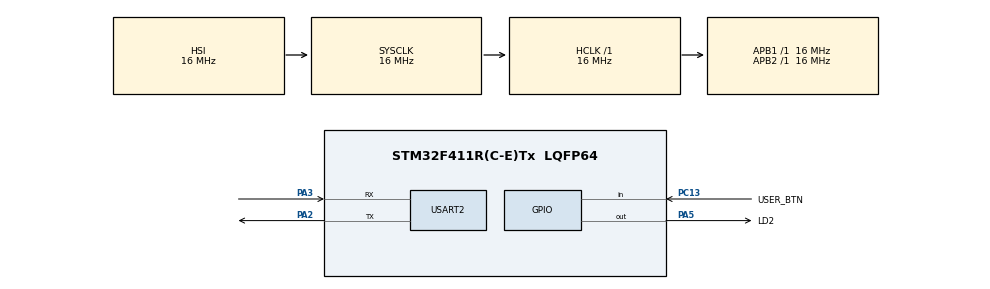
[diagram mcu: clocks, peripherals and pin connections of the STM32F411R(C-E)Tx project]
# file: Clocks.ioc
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Mcu.Family=STM32F4
Mcu.Name=STM32F411R(C-E)Tx
Mcu.Package=LQFP64
NVIC.PriorityGroup=NVIC_PRIORITYGROUP_4
PA13.Mode=Serial_Wire
PA13.Signal=SYS_JTMS-SWDIO
PA14.Mode=Serial_Wire
PA14.Signal=SYS_JTCK-SWCLK
PA2.Mode=Asynchronous
PA2.Signal=USART2_TX
PA3.Mode=Asynchronous
PA3.Signal=USART2_RX
PA5.GPIO_Label=LD2
PA5.Signal=GPIO_Output
PC13-ANTI_TAMP.GPIO_Label=USER_BTN
PC13-ANTI_TAMP.Signal=GPIO_Input
PC14-OSC32_IN.Mode=LSE-External-Oscillator
PC14-OSC32_IN.Signal=RCC_OSC32_IN
PC15-OSC32_OUT.Mode=LSE-External-Oscillator
PC15-OSC32_OUT.Signal=RCC_OSC32_OUT
ProjectManager.HeapSize=0x200
ProjectManager.StackSize=0x400
ProjectManager.TargetToolchain=STM32CubeIDE
RCC.AHBFreq_Value=16000000
RCC.APB1Freq_Value=16000000
RCC.APB2Freq_Value=16000000
RCC.CortexFreq_Value=16000000
RCC.HSE_VALUE=25000000
RCC.HSI_VALUE=16000000
RCC.RCC_RTC_Clock_Source=RCC_RTCCLKSOURCE_LSE
RCC.SYSCLKFreq_VALUE=16000000
RCC.VCOOutputFreq_Value=192000000
USART2.VirtualMode=VM_ASYNC
VP_RTC_VS_RTC_Activate.Mode=RTC_Enabled
board=custom

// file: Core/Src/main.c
/* USER CODE BEGIN Header */
/**
  ******************************************************************************
  * @file           : main.c
  * @brief          : Main program body
  ******************************************************************************
  * @attention
  *
  * Copyright (c) 2024 STMicroelectronics.
  * All rights reserved.
  *
  * This software is licensed under terms that can be found in the LICENSE file
  * in the root directory of this software component.
  * If no LICENSE file comes with this software, it is provided AS-IS.
  *
  ******************************************************************************
  */
/* USER CODE END Header */
#include "main.h"

/* USER CODE BEGIN Includes */
#include <stdio.h>
#include <string.h>
#include <stdbool.h>
/* USER CODE END Includes */

RTC_HandleTypeDef hrtc;

UART_HandleTypeDef huart2;

void SystemClock_Config(void);
static void MX_GPIO_Init(void);
static void MX_RTC_Init(void);
static void MX_USART2_UART_Init(void);

/* USER CODE BEGIN 0 */

int __io_putchar(int ch)
{
    if (ch == '\n') {
        uint8_t ch2 = '\r';
        HAL_UART_Transmit(&huart2, &ch2, 1, HAL_MAX_DELAY);
    }

    HAL_UART_Transmit(&huart2, (uint8_t*)&ch, 1, HAL_MAX_DELAY);
    return 1;
}

bool is_button_pressed(void)
{
  if (HAL_GPIO_ReadPin(USER_BTN_GPIO_Port, USER_BTN_Pin) == GPIO_PIN_RESET) {
    return true;
  } else {
    return false;
  }
}
/* USER CODE END 0 */

int main(void)
{

  /* MCU Configuration--------------------------------------------------------*/

  /* Reset of all peripherals, Initializes the Flash interface and the Systick. */
  HAL_Init();

  /* Configure the system clock */
  SystemClock_Config();

  /* Initialize all configured peripherals */
  MX_GPIO_Init();
  MX_RTC_Init();
  MX_USART2_UART_Init();

  /* Infinite loop */
  /* USER CODE BEGIN WHILE */
  while (1)
  {
	  RTC_TimeTypeDef time;
	  RTC_DateTypeDef date;

	  if (is_button_pressed()) {
		// WAŻNE : nieużywane pola muszą być wyzerowane
		  RTC_TimeTypeDef new_time = {0};

		  //Czekamy na zwolnienie przycisku
		  while(is_button_pressed()){}

		  new_time.Hours = 7;
		  new_time.Minutes = 45;
		  new_time.Seconds = 0;
		  HAL_RTC_SetTime(&hrtc, &new_time, RTC_FORMAT_BIN);
	  }

	  HAL_RTC_GetTime(&hrtc, &time, RTC_FORMAT_BIN);
	  HAL_RTC_GetDate(&hrtc, &date, RTC_FORMAT_BIN);

	  printf("Aktualna data i czas: %04d-%02d-%02d | %02d:%02d:%02d\n", 2000 + date.Year, date.Month, date.Date, time.Hours, time.Minutes, time.Seconds);
	  HAL_Delay(200);
    /* USER CODE END WHILE */

  }
}

void SystemClock_Config(void)
{
  RCC_OscInitTypeDef RCC_OscInitStruct = {0};
  RCC_ClkInitTypeDef RCC_ClkInitStruct = {0};

  /** Configure the main internal regulator output voltage
  */
  __HAL_RCC_PWR_CLK_ENABLE();
  __HAL_PWR_VOLTAGESCALING_CONFIG(PWR_REGULATOR_VOLTAGE_SCALE1);

  /** Initializes the RCC Oscillators according to the specified parameters
  * in the RCC_OscInitTypeDef structure.
  */
  RCC_OscInitStruct.OscillatorType = RCC_OSCILLATORTYPE_HSI|RCC_OSCILLATORTYPE_LSE;
  RCC_OscInitStruct.LSEState = RCC_LSE_ON;
  RCC_OscInitStruct.HSIState = RCC_HSI_ON;
  RCC_OscInitStruct.HSICalibrationValue = RCC_HSICALIBRATION_DEFAULT;
  RCC_OscInitStruct.PLL.PLLState = RCC_PLL_NONE;
  if (HAL_RCC_OscConfig(&RCC_OscInitStruct) != HAL_OK)
  {
    Error_Handler();
  }

  /** Initializes the CPU, AHB and APB buses clocks
  */
  RCC_ClkInitStruct.ClockType = RCC_CLOCKTYPE_HCLK|RCC_CLOCKTYPE_SYSCLK
                              |RCC_CLOCKTYPE_PCLK1|RCC_CLOCKTYPE_PCLK2;
  RCC_ClkInitStruct.SYSCLKSource = RCC_SYSCLKSOURCE_HSI;
  RCC_ClkInitStruct.AHBCLKDivider = RCC_SYSCLK_DIV1;
  RCC_ClkInitStruct.APB1CLKDivider = RCC_HCLK_DIV1;
  RCC_ClkInitStruct.APB2CLKDivider = RCC_HCLK_DIV1;

  if (HAL_RCC_ClockConfig(&RCC_ClkInitStruct, FLASH_LATENCY_0) != HAL_OK)
  {
    Error_Handler();
  }
}

static void MX_RTC_Init(void)
{

  /** Initialize RTC Only
  */
  hrtc.Instance = RTC;
  hrtc.Init.HourFormat = RTC_HOURFORMAT_24;
  hrtc.Init.AsynchPrediv = 127;
  hrtc.Init.SynchPrediv = 255;
  hrtc.Init.OutPut = RTC_OUTPUT_DISABLE;
  hrtc.Init.OutPutPolarity = RTC_OUTPUT_POLARITY_HIGH;
  hrtc.Init.OutPutType = RTC_OUTPUT_TYPE_OPENDRAIN;
  if (HAL_RTC_Init(&hrtc) != HAL_OK)
  {
    Error_Handler();
  }

}

static void MX_USART2_UART_Init(void)
{

  huart2.Instance = USART2;
  huart2.Init.BaudRate = 115200;
  huart2.Init.WordLength = UART_WORDLENGTH_8B;
  huart2.Init.StopBits = UART_STOPBITS_1;
  huart2.Init.Parity = UART_PARITY_NONE;
  huart2.Init.Mode = UART_MODE_TX_RX;
  huart2.Init.HwFlowCtl = UART_HWCONTROL_NONE;
  huart2.Init.OverSampling = UART_OVERSAMPLING_16;
  if (HAL_UART_Init(&huart2) != HAL_OK)
  {
    Error_Handler();
  }

}

static void MX_GPIO_Init(void)
{
  GPIO_InitTypeDef GPIO_InitStruct = {0};

  /* GPIO Ports Clock Enable */
  __HAL_RCC_GPIOC_CLK_ENABLE();
  __HAL_RCC_GPIOA_CLK_ENABLE();

  /*Configure GPIO pin Output Level */
  HAL_GPIO_WritePin(LD2_GPIO_Port, LD2_Pin, GPIO_PIN_RESET);

  /*Configure GPIO pin : USER_BTN_Pin */
  GPIO_InitStruct.Pin = USER_BTN_Pin;
  GPIO_InitStruct.Mode = GPIO_MODE_INPUT;
  GPIO_InitStruct.Pull = GPIO_NOPULL;
  HAL_GPIO_Init(USER_BTN_GPIO_Port, &GPIO_InitStruct);

  /*Configure GPIO pin : LD2_Pin */
  GPIO_InitStruct.Pin = LD2_Pin;
  GPIO_InitStruct.Mode = GPIO_MODE_OUTPUT_PP;
  GPIO_InitStruct.Pull = GPIO_NOPULL;
  GPIO_InitStruct.Speed = GPIO_SPEED_FREQ_LOW;
  HAL_GPIO_Init(LD2_GPIO_Port, &GPIO_InitStruct);

}

void Error_Handler(void)
{
  __disable_irq();
  while (1)
  {
  }
}
